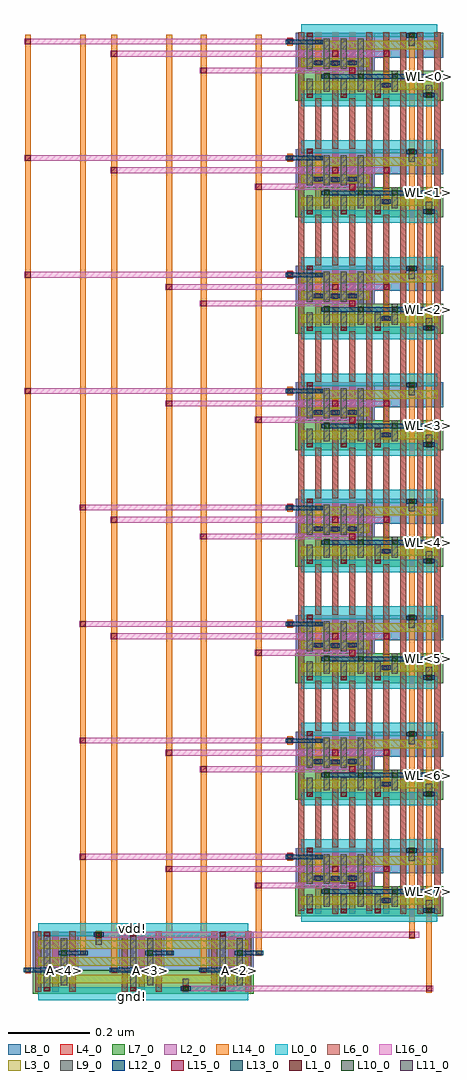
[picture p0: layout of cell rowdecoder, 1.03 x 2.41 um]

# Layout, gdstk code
from math import pi, radians
import gdstk
lib = gdstk.Library(unit=1e-6, precision=5e-10)
def R(c, l, rs):  # rectangles x0, y0, x1, y1
    for r in rs: c.add(gdstk.rectangle(r[:2], r[2:], *l))
def A(c, l, x, y, w, h, nx, ny, dx, dy):  # array of equal rectangles
    R(c, l, [(x+i*dx, y+j*dy, x+i*dx+w, y+j*dy+h) for i in range(nx) for j in range(ny)])
L0_0 = (0, 0)
L1_0 = (1, 0)
L2_0 = (2, 0)
L3_0 = (3, 0)
L4_0 = (4, 0)
L6_0 = (6, 0)
L7_0 = (7, 0)
L8_0 = (8, 0)
L9_0 = (9, 0)
L10_0 = (10, 0)
L11_0 = (11, 0)
L12_0 = (12, 0)
L13_0 = (13, 0)
L14_0 = (14, 0)
L15_0 = (15, 0)
L16_0 = (16, 0)

nmos = lib.new_cell('nmos')
R(nmos, L3_0, [(-0.042,-0.0105,0.042,0.0105)])
A(nmos, L4_0, -0.0495, -0.032, 0.015, 0.064, 3, 1, 0.042, 0)
R(nmos, L7_0, [(-0.0555,-0.021,0.0555,0.0205)])
R(nmos, L9_0, [(-0.0285,-0.0155,-0.0135,0.0155), (0.0135,-0.0155,0.0285,0.0155)])

pmos = lib.new_cell('pmos')
R(pmos, L2_0, [(-0.042,-0.0205,0.042,0.0205)])
R(pmos, L3_0, [(-0.042,-0.0105,0.042,0.0105)])
A(pmos, L4_0, -0.0495, -0.032, 0.015, 0.064, 3, 1, 0.042, 0)
R(pmos, L8_0, [(-0.0555,-0.0205,0.0555,0.0205)])
R(pmos, L9_0, [(-0.0285,-0.0155,-0.0135,0.0155), (0.0135,-0.0155,0.0285,0.0155)])

bpr_m0a = lib.new_cell('BPR_M0A')
R(bpr_m0a, L0_0, [(-0.021,-0.0055,0.021,0.026)])
R(bpr_m0a, L1_0, [(-0.0075,-0.0055,0.0075,0.005)])
R(bpr_m0a, L9_0, [(-0.0075,-0.0165,0.0075,0.005)])

m0a_m0b = lib.new_cell('M0A_M0B')
R(m0a_m0b, L9_0, [(-0.0075,-0.0055,0.0075,0.0055)])
R(m0a_m0b, L10_0, [(-0.0065,-0.0065,0.0065,0.0065)])
R(m0a_m0b, L12_0, [(-0.0125,-0.0055,0.0125,0.0055)])

gate_m0b = lib.new_cell('GATE_M0B')
R(gate_m0b, L4_0, [(-0.0075,-0.0115,0.0075,0.0115)])
R(gate_m0b, L11_0, [(-0.0075,-0.0065,0.0075,0.0065)])
R(gate_m0b, L12_0, [(-0.011,-0.0055,0.011,0.0055)])

inv_2 = lib.new_cell('inv_2')
R(inv_2, L0_0, [(-0.042,-0.052,0.0415,-0.0205), (0.012,-0.0415,0.031,-0.0285), (-0.042,0.1055,0.0415,0.137), (0.0105,0.114,0.0315,0.127)])
R(inv_2, L2_0, [(-0.0555,0.021,0.0555,0.116)])
R(inv_2, L6_0, [(-0.0495,-0.032,-0.0345,0.117), (0.0345,-0.032,0.0495,0.117)])
R(inv_2, L7_0, [(-0.0555,-0.0365,0.0555,0.021)])
R(inv_2, L8_0, [(-0.0555,0.021,0.0555,0.116)])
R(inv_2, L9_0, [(0.0135,0.0155,0.0285,0.027), (-0.0285,0.058,-0.0135,0.0695), (0.0135,0.058,0.0285,0.0695)])
R(inv_2, L12_0, [(-0.0075,0.016,0.0075,0.027), (0.0135,0.0585,0.0285,0.0695)])
inv_2.add(gdstk.Reference(nmos, (0,0)))
inv_2.add(gdstk.Reference(pmos, (0,0.085)))
inv_2.add(gdstk.Reference(pmos, (0,0.0425)))
inv_2.add(gdstk.Reference(bpr_m0a, (-0.021,-0.026), x_reflection=True))
inv_2.add(gdstk.Reference(bpr_m0a, (-0.021,0.111)))
inv_2.add(gdstk.Reference(m0a_m0b, (0.021,0.064)))
inv_2.add(gdstk.Reference(gate_m0b, (0,0.0215)))
inv_2.add(gdstk.Label('gnd!', (0.0215,-0.035), layer=0, texttype=0))
inv_2.add(gdstk.Label('vdd!', (0.021,0.1205), layer=0, texttype=0))
inv_2.add(gdstk.Label('Z', (0.021,0.064), layer=12, texttype=0))
inv_2.add(gdstk.Label('A', (0,0.0215), layer=12, texttype=0))

m0b_m1 = lib.new_cell('M0B_M1')
R(m0b_m1, L12_0, [(-0.011,-0.005,0.011,0.005)])
R(m0b_m1, L13_0, [(-0.007,-0.005,0.007,0.005)])
R(m0b_m1, L14_0, [(-0.007,-0.0075,0.007,0.0075)])

m1_m2 = lib.new_cell('M1_M2')
R(m1_m2, L14_0, [(-0.007,-0.01,0.007,0.01)])
R(m1_m2, L15_0, [(-0.007,-0.007,0.007,0.007)])
R(m1_m2, L16_0, [(-0.01,-0.007,0.01,0.007)])

nor_5 = lib.new_cell('nor_5')
R(nor_5, L0_0, [(-0.089,-0.0545,0.163,-0.023), (0.0065,-0.0505,0.032,-0.0375), (-0.089,0.117,0.163,0.1485), (0.004,0.126,0.031,0.1415)])
R(nor_5, L2_0, [(-0.1025,0.033,0.0925,0.127)])
R(nor_5, L6_0, [(-0.0125,-0.0345,0.0025,0.0155), (0.1555,-0.0345,0.1705,0.0295), (-0.0965,-0.028,-0.0815,0.1285), (0.0715,-0.028,0.0865,0.1285)])
R(nor_5, L7_0, [(-0.1035,-0.041,0.1775,0.033)])
R(nor_5, L8_0, [(-0.1025,0.033,0.0925,0.127)])
R(nor_5, L9_0, [(0.0505,0.0065,0.0655,0.016), (-0.0335,0.008,-0.0185,0.028), (0.1345,0.0085,0.1495,0.033), (0.0505,0.0155,0.0655,0.048), (0.0085,0.066,0.0235,0.084), (0.0505,0.0665,0.0655,0.084), (-0.0755,0.067,-0.0605,0.0845), (-0.0335,0.067,-0.0185,0.084)])
R(nor_5, L12_0, [(-0.0385,0.014,0.0505,0.025), (0.0505,0.014,0.0655,0.025), (0.0665,0.014,0.1545,0.025), (-0.0125,0.047,0.0025,0.058), (-0.0545,0.0475,-0.0395,0.0585), (0.0295,0.0475,0.0445,0.0585)])
R(nor_5, L14_0, [(0.114,-0.0035,0.128,0.085), (-0.012,0.0415,0.002,0.085)])
R(nor_5, L16_0, [(-0.015,0.068,0.131,0.082)])
nor_5.add(gdstk.Reference(pmos, (0.037,0.0965)))
nor_5.add(gdstk.Reference(pmos, (0.037,0.054)))
nor_5.add(gdstk.Reference(pmos, (-0.005,0.054)))
nor_5.add(gdstk.Reference(pmos, (-0.005,0.0965)))
nor_5.add(gdstk.Reference(pmos, (-0.047,0.0965)))
nor_5.add(gdstk.Reference(pmos, (-0.047,0.054)))
nor_5.add(gdstk.Reference(m0a_m0b, (0.058,0.0195)))
nor_5.add(gdstk.Reference(m0a_m0b, (0.142,0.0195)))
nor_5.add(gdstk.Reference(m0a_m0b, (-0.026,0.0195)))
nor_5.add(gdstk.Reference(nmos, (0.121,-0.0025)))
nor_5.add(gdstk.Reference(nmos, (0.037,-0.0025)))
nor_5.add(gdstk.Reference(nmos, (-0.047,-0.0025)))
nor_5.add(gdstk.Reference(m0b_m1, (-0.005,0.052)))
nor_5.add(gdstk.Reference(m0b_m1, (0.121,-0.0025)))
nor_5.add(gdstk.Reference(m1_m2, (0.121,0.075)))
nor_5.add(gdstk.Reference(m1_m2, (-0.005,0.075)))
nor_5.add(gdstk.Reference(gate_m0b, (0.037,0.053)))
nor_5.add(gdstk.Reference(gate_m0b, (0.121,-0.0025)))
nor_5.add(gdstk.Reference(gate_m0b, (-0.047,0.053)))
nor_5.add(gdstk.Reference(gate_m0b, (-0.005,0.0525)))
nor_5.add(gdstk.Reference(bpr_m0a, (-0.068,0.1225)))
nor_5.add(gdstk.Reference(bpr_m0a, (0.1,-0.0285), rotation=pi))
nor_5.add(gdstk.Reference(bpr_m0a, (-0.068,-0.0285), rotation=pi))
nor_5.add(gdstk.Reference(bpr_m0a, (0.016,-0.0285), rotation=pi))
nor_5.add(gdstk.Label('B', (-0.005,0.0525), layer=12, texttype=0))
nor_5.add(gdstk.Label('Z', (0.058,0.0195), layer=12, texttype=0))
nor_5.add(gdstk.Label('A', (-0.047,0.053), layer=12, texttype=0))
nor_5.add(gdstk.Label('C', (0.037,0.053), layer=12, texttype=0))
nor_5.add(gdstk.Label('vdd!', (0.0175,0.1335), layer=0, texttype=0))
nor_5.add(gdstk.Label('gnd!', (0.019,-0.044), layer=0, texttype=0))

rowdecoder = lib.new_cell('rowdecoder')
R(rowdecoder, L0_0, [(0.1565,0.0335,0.2855,0.065), (0.369,0.0335,0.506,0.065), (0.291,0.036,0.321,0.048), (0.1565,0.191,0.2855,0.2225), (0.369,0.191,0.506,0.2225), (0.2875,0.2035,0.323,0.218), (0.9725,0.2265,1.0565,0.258), (0.9725,0.398,1.0565,0.4295), (0.9725,0.5135,1.0565,0.545), (0.9725,0.685,1.0565,0.7165), (0.9725,0.8005,1.0565,0.832), (0.9725,0.972,1.0565,1.0035), (0.9725,1.0875,1.0565,1.119), (0.9725,1.259,1.0565,1.2905), (0.9725,1.3745,1.0565,1.406), (0.9725,1.546,1.0565,1.5775), (0.9725,1.6615,1.0565,1.693), (0.9725,1.833,1.0565,1.8645), (0.9725,1.949,1.0565,1.9805), (0.9725,2.1205,1.0565,2.152), (0.9725,2.236,1.0565,2.2675), (0.9725,2.4075,1.0565,2.439)])
A(rowdecoder, L3_0, 0.157, 0.075, 0.1285, 0.021, 1, 3, 0, 0.0425)
A(rowdecoder, L3_0, 0.3695, 0.075, 0.1365, 0.021, 1, 3, 0, 0.0425)
A(rowdecoder, L3_0, 0.9725, 0.268, 0.084, 0.021, 1, 6, 0, 0.287)
A(rowdecoder, L3_0, 0.8885, 0.367, 0.0845, 0.021, 1, 6, 0, 0.287)
A(rowdecoder, L3_0, 0.973, 0.367, 0.084, 0.021, 1, 6, 0, 0.287)
R(rowdecoder, L3_0, [(0.9725,1.9905,1.0565,2.0115), (0.8885,2.0895,0.973,2.1105), (0.973,2.0895,1.057,2.1105), (0.9725,2.2775,1.0565,2.2985), (0.8885,2.3765,0.973,2.3975), (0.973,2.3765,1.057,2.3975)])
A(rowdecoder, L4_0, 1.007, 0.2465, 0.015, 0.45, 1, 3, 0, 0.574)
A(rowdecoder, L4_0, 1.049, 0.2465, 0.015, 0.45, 1, 3, 0, 0.574)
A(rowdecoder, L4_0, 0.923, 0.3105, 0.015, 0.099, 1, 6, 0, 0.287)
A(rowdecoder, L4_0, 0.965, 0.3105, 0.015, 0.223, 1, 3, 0, 0.574)
A(rowdecoder, L4_0, 0.713, 0.4095, 0.015, 0.124, 6, 3, 0.042, 0.574)
A(rowdecoder, L4_0, 0.965, 0.5975, 0.015, 0.099, 1, 3, 0, 0.574)
A(rowdecoder, L4_0, 0.713, 0.6965, 0.015, 0.124, 9, 2, 0.042, 0.574)
A(rowdecoder, L4_0, 0.713, 1.8445, 0.015, 0.1245, 9, 1, 0.042, 0)
A(rowdecoder, L4_0, 0.713, 2.132, 0.015, 0.124, 6, 1, 0.042, 0)
R(rowdecoder, L4_0, [(1.007,1.969,1.022,2.419), (1.049,1.969,1.064,2.419), (0.923,2.033,0.938,2.132), (0.965,2.033,0.98,2.256), (0.923,2.32,0.938,2.419), (0.965,2.32,0.98,2.419)])
A(rowdecoder, L6_0, 1.007, 0.2465, 0.015, 0.45, 1, 3, 0, 0.574)
A(rowdecoder, L6_0, 1.049, 0.2465, 0.015, 0.45, 1, 3, 0, 0.574)
A(rowdecoder, L6_0, 0.923, 0.3105, 0.015, 0.099, 1, 6, 0, 0.287)
A(rowdecoder, L6_0, 0.965, 0.3105, 0.015, 0.223, 1, 3, 0, 0.574)
A(rowdecoder, L6_0, 0.713, 0.4095, 0.015, 0.1305, 1, 5, 0, 0.287)
A(rowdecoder, L6_0, 0.755, 0.4095, 0.015, 0.124, 3, 5, 0.042, 0.287)
A(rowdecoder, L6_0, 0.881, 0.4095, 0.015, 0.1305, 1, 5, 0, 0.287)
A(rowdecoder, L6_0, 0.923, 0.4095, 0.015, 0.124, 1, 3, 0, 0.574)
A(rowdecoder, L6_0, 0.965, 0.5975, 0.015, 0.099, 1, 3, 0, 0.574)
A(rowdecoder, L6_0, 0.923, 0.6965, 0.015, 0.124, 4, 2, 0.042, 0.574)
A(rowdecoder, L6_0, 0.755, 1.8445, 0.015, 0.1245, 3, 1, 0.042, 0)
A(rowdecoder, L6_0, 0.923, 1.8445, 0.015, 0.1245, 4, 1, 0.042, 0)
A(rowdecoder, L6_0, 0.755, 2.132, 0.015, 0.124, 3, 1, 0.042, 0)
R(rowdecoder, L6_0, [(0.713,1.8445,0.728,1.9755), (0.881,1.8445,0.896,1.9755), (1.007,1.969,1.022,2.419), (1.049,1.969,1.064,2.419), (0.923,2.033,0.938,2.132), (0.965,2.033,0.98,2.256), (0.713,2.132,0.728,2.2625), (0.881,2.132,0.896,2.2625), (0.923,2.132,0.938,2.256), (0.923,2.32,0.938,2.419), (0.965,2.32,0.98,2.419)])
A(rowdecoder, L7_0, 0.987, 0.24, 0.084, 0.074, 1, 6, 0, 0.287)
R(rowdecoder, L7_0, [(0.1705,0.049,0.272,0.1065), (0.383,0.049,0.4925,0.1065), (0.987,1.9625,1.071,2.0365), (0.987,2.2495,1.071,2.3235)])
A(rowdecoder, L8_0, 0.902, 0.3465, 0.169, 0.0615, 1, 6, 0, 0.287)
R(rowdecoder, L8_0, [(0.1705,0.1065,0.272,0.2015), (0.383,0.1065,0.4925,0.2015), (0.902,2.069,1.071,2.1305), (0.902,2.356,1.071,2.4175)])
A(rowdecoder, L9_0, 1.028, 0.268, 0.015, 0.011, 1, 6, 0, 0.287)
A(rowdecoder, L9_0, 0.986, 0.3765, 0.015, 0.011, 1, 6, 0, 0.287)
R(rowdecoder, L9_0, [(0.4285,0.075,0.4435,0.086), (0.214,0.17,0.229,0.181), (1.028,1.9905,1.043,2.0015), (0.986,2.099,1.001,2.11), (1.028,2.2775,1.043,2.2885), (0.986,2.386,1.001,2.397)])
A(rowdecoder, L12_0, 0.959, 0.295, 0.098, 0.011, 1, 6, 0, 0.287)
A(rowdecoder, L12_0, 1.0285, 1.156, 0.014, 0.011, 1, 3, 0, 0.287)
R(rowdecoder, L12_0, [(0.0365,0.1015,0.126,0.1125), (0.1075,0.1015,0.1465,0.1125), (0.1285,0.1015,0.1435,0.1125), (0.249,0.1015,0.3385,0.1125), (0.32,0.1015,0.359,0.1125), (0.341,0.1015,0.356,0.1125), (0.4695,0.1015,0.559,0.1125), (0.5405,0.1015,0.5795,0.1125), (0.5615,0.1015,0.5765,0.1125), (0.1235,0.144,0.194,0.155), (0.336,0.144,0.4065,0.155), (0.5565,0.144,0.627,0.155), (1.0285,0.295,1.0425,0.306), (0.682,0.3805,0.7735,0.3915), (1.0285,0.582,1.0425,0.593), (0.682,0.667,0.7735,0.678), (1.0285,0.869,1.0425,0.8795), (0.682,0.9545,0.7735,0.9655), (0.682,1.241,0.7735,1.252), (0.682,1.5285,0.7735,1.5395), (0.682,1.815,0.7735,1.826), (0.959,2.0175,1.057,2.0285), (1.0285,2.0175,1.0425,2.0285), (0.682,2.103,0.7735,2.114), (0.959,2.3045,1.057,2.3155), (1.0295,2.3045,1.0425,2.3155), (0.682,2.3895,0.7735,2.4005)])
R(rowdecoder, L14_0, [(1.0285,0.0515,1.0425,0.262), (0.0405,0.0995,0.0545,2.412), (0.253,0.0995,0.267,2.412), (0.4735,0.0995,0.4875,2.412), (0.176,0.142,0.19,2.412), (0.3885,0.142,0.4025,2.412), (0.609,0.142,0.623,2.412), (0.9865,0.1845,1.0005,0.409), (1.0285,0.247,1.0425,2.2715), (0.8395,0.3055,0.8535,0.3415), (0.7555,0.326,0.7695,0.394), (0.9865,0.394,1.0005,2.4185), (0.8395,0.592,0.8535,0.628), (0.7555,0.6125,0.7695,0.6805), (0.8395,0.8795,0.8535,0.9155), (0.7555,0.9,0.7695,0.968), (0.8395,1.166,0.8535,1.202), (0.7555,1.1865,0.7695,1.2545), (0.8395,1.4535,0.8535,1.4895), (0.7555,1.474,0.7695,1.542), (0.8395,1.74,0.8535,1.776), (0.7555,1.7605,0.7695,1.8285), (0.8395,2.028,0.8535,2.064), (0.7555,2.0485,0.7695,2.1165), (0.8395,2.3145,0.8535,2.3505), (0.7555,2.335,0.7695,2.403)])
A(rowdecoder, L16_0, 0.606, 0.3085, 0.097, 0.014, 1, 3, 0, 0.574)
A(rowdecoder, L16_0, 0.683, 0.349, 0.129, 0.014, 1, 6, 0, 0.287)
A(rowdecoder, L16_0, 0.4705, 0.595, 0.2325, 0.014, 1, 3, 0, 0.574)
R(rowdecoder, L16_0, [(0.426,0.0545,1.0455,0.0685), (0.2115,0.1875,1.011,0.2015), (0.683,0.3085,0.8565,0.3225), (0.3855,0.349,0.703,0.363), (0.173,0.3795,0.703,0.3935), (0.683,0.595,0.8565,0.609), (0.3855,0.636,0.703,0.65), (0.173,0.666,0.703,0.68), (0.683,0.8825,0.8565,0.8965), (0.25,0.923,0.703,0.937), (0.173,0.9535,0.703,0.9675), (0.683,1.169,0.8565,1.183), (0.25,1.21,0.703,1.224), (0.173,1.24,0.703,1.254), (0.683,1.4565,0.8565,1.4705), (0.3855,1.497,0.703,1.511), (0.0375,1.5275,0.703,1.5415), (0.683,1.743,0.8565,1.757), (0.3855,1.784,0.703,1.798), (0.0375,1.814,0.703,1.828), (0.606,2.031,0.703,2.045), (0.683,2.031,0.8565,2.045), (0.25,2.0715,0.703,2.0855), (0.683,2.0715,0.812,2.0855), (0.0375,2.102,0.703,2.116), (0.4705,2.3175,0.703,2.3315), (0.683,2.3175,0.8565,2.3315), (0.25,2.3585,0.703,2.3725), (0.683,2.3585,0.812,2.3725), (0.0375,2.3885,0.703,2.4025)])
rowdecoder.add(gdstk.Reference(inv_2, (0.548,0.0855)))
rowdecoder.add(gdstk.Reference(inv_2, (0.3275,0.0855)))
rowdecoder.add(gdstk.Reference(inv_2, (0.115,0.0855)))
rowdecoder.add(gdstk.Reference(nor_5, (0.8095,2.2905)))
rowdecoder.add(gdstk.Reference(nor_5, (0.8095,2.0035)))
rowdecoder.add(gdstk.Reference(nor_5, (0.8095,1.716)))
rowdecoder.add(gdstk.Reference(nor_5, (0.8095,1.429)))
rowdecoder.add(gdstk.Reference(nor_5, (0.8095,1.142)))
rowdecoder.add(gdstk.Reference(nor_5, (0.8095,0.855)))
rowdecoder.add(gdstk.Reference(nor_5, (0.8095,0.568)))
rowdecoder.add(gdstk.Reference(nor_5, (0.8095,0.281)))
rowdecoder.add(gdstk.Reference(m0b_m1, (0.8465,2.0565)))
rowdecoder.add(gdstk.Reference(m0b_m1, (0.8465,2.343)))
rowdecoder.add(gdstk.Reference(m0b_m1, (0.693,2.3955)))
rowdecoder.add(gdstk.Reference(m0b_m1, (0.7625,2.3955)))
rowdecoder.add(gdstk.Reference(m0b_m1, (0.7625,2.3435)))
rowdecoder.add(gdstk.Reference(m0b_m1, (0.693,2.109)))
rowdecoder.add(gdstk.Reference(m0b_m1, (0.7625,2.109)))
rowdecoder.add(gdstk.Reference(m0b_m1, (0.7625,2.056)))
rowdecoder.add(gdstk.Reference(m0b_m1, (0.9935,2.124)))
rowdecoder.add(gdstk.Reference(m0b_m1, (0.9935,2.411)))
rowdecoder.add(gdstk.Reference(m0b_m1, (1.0355,1.977)))
rowdecoder.add(gdstk.Reference(m0b_m1, (1.0355,2.264)))
rowdecoder.add(gdstk.Reference(m0b_m1, (0.9935,1.5495)))
rowdecoder.add(gdstk.Reference(m0b_m1, (0.9935,1.8365)))
rowdecoder.add(gdstk.Reference(m0b_m1, (0.8465,1.482)))
rowdecoder.add(gdstk.Reference(m0b_m1, (0.8465,1.7685)))
rowdecoder.add(gdstk.Reference(m0b_m1, (0.693,1.821)))
rowdecoder.add(gdstk.Reference(m0b_m1, (0.7625,1.821)))
rowdecoder.add(gdstk.Reference(m0b_m1, (0.7625,1.769)))
rowdecoder.add(gdstk.Reference(m0b_m1, (1.0355,1.4025)))
rowdecoder.add(gdstk.Reference(m0b_m1, (0.693,1.5345)))
rowdecoder.add(gdstk.Reference(m0b_m1, (0.7625,1.5345)))
rowdecoder.add(gdstk.Reference(m0b_m1, (0.7625,1.4815)))
rowdecoder.add(gdstk.Reference(m0b_m1, (1.0355,1.6895)))
rowdecoder.add(gdstk.Reference(m0b_m1, (0.9935,0.9755)))
rowdecoder.add(gdstk.Reference(m0b_m1, (0.9935,1.2625)))
rowdecoder.add(gdstk.Reference(m0b_m1, (0.8465,0.908)))
rowdecoder.add(gdstk.Reference(m0b_m1, (0.8465,1.1945)))
rowdecoder.add(gdstk.Reference(m0b_m1, (0.693,1.247)))
rowdecoder.add(gdstk.Reference(m0b_m1, (0.7625,1.247)))
rowdecoder.add(gdstk.Reference(m0b_m1, (0.7625,1.195)))
rowdecoder.add(gdstk.Reference(m0b_m1, (1.0355,0.8285)))
rowdecoder.add(gdstk.Reference(m0b_m1, (0.693,0.9605)))
rowdecoder.add(gdstk.Reference(m0b_m1, (0.7625,0.9605)))
rowdecoder.add(gdstk.Reference(m0b_m1, (0.7625,0.9075)))
rowdecoder.add(gdstk.Reference(m0b_m1, (1.0355,1.1155)))
rowdecoder.add(gdstk.Reference(m0b_m1, (0.9935,0.4015)))
rowdecoder.add(gdstk.Reference(m0b_m1, (0.9935,0.6885)))
rowdecoder.add(gdstk.Reference(m0b_m1, (0.2215,0.1945), rotation=pi))
rowdecoder.add(gdstk.Reference(m0b_m1, (0.8465,0.334)))
rowdecoder.add(gdstk.Reference(m0b_m1, (0.436,0.0615)))
rowdecoder.add(gdstk.Reference(m0b_m1, (0.8465,0.6205)))
rowdecoder.add(gdstk.Reference(m0b_m1, (0.693,0.673)))
rowdecoder.add(gdstk.Reference(m0b_m1, (0.7625,0.673)))
rowdecoder.add(gdstk.Reference(m0b_m1, (0.7625,0.621)))
rowdecoder.add(gdstk.Reference(m0b_m1, (1.0355,0.2545)))
rowdecoder.add(gdstk.Reference(m0b_m1, (0.4805,0.107)))
rowdecoder.add(gdstk.Reference(m0b_m1, (0.616,0.1495)))
rowdecoder.add(gdstk.Reference(m0b_m1, (0.183,0.1495)))
rowdecoder.add(gdstk.Reference(m0b_m1, (0.0475,0.107)))
rowdecoder.add(gdstk.Reference(m0b_m1, (0.693,0.3865)))
rowdecoder.add(gdstk.Reference(m0b_m1, (0.7625,0.3865)))
rowdecoder.add(gdstk.Reference(m0b_m1, (0.7625,0.3335)))
rowdecoder.add(gdstk.Reference(m0b_m1, (1.0355,0.5415)))
rowdecoder.add(gdstk.Reference(m0b_m1, (0.3955,0.1495)))
rowdecoder.add(gdstk.Reference(m0b_m1, (0.26,0.107)))
rowdecoder.add(gdstk.Reference(bpr_m0a, (0.9935,2.413)))
rowdecoder.add(gdstk.Reference(bpr_m0a, (0.9935,2.126)))
rowdecoder.add(gdstk.Reference(bpr_m0a, (1.0355,1.975), rotation=pi))
rowdecoder.add(gdstk.Reference(bpr_m0a, (1.0355,2.262), rotation=pi))
rowdecoder.add(gdstk.Reference(bpr_m0a, (0.9935,1.8385)))
rowdecoder.add(gdstk.Reference(bpr_m0a, (0.9935,1.5515)))
rowdecoder.add(gdstk.Reference(bpr_m0a, (1.0355,1.4005), rotation=pi))
rowdecoder.add(gdstk.Reference(bpr_m0a, (1.0355,1.6875), rotation=pi))
rowdecoder.add(gdstk.Reference(bpr_m0a, (0.9935,1.2645)))
rowdecoder.add(gdstk.Reference(bpr_m0a, (0.9935,0.9775)))
rowdecoder.add(gdstk.Reference(bpr_m0a, (1.0355,0.8265), rotation=pi))
rowdecoder.add(gdstk.Reference(bpr_m0a, (1.0355,1.1135), rotation=pi))
rowdecoder.add(gdstk.Reference(bpr_m0a, (0.2215,0.1965)))
rowdecoder.add(gdstk.Reference(bpr_m0a, (0.436,0.0595), rotation=pi))
rowdecoder.add(gdstk.Reference(bpr_m0a, (0.9935,0.6905)))
rowdecoder.add(gdstk.Reference(bpr_m0a, (0.9935,0.4035)))
rowdecoder.add(gdstk.Reference(bpr_m0a, (1.0355,0.2525), rotation=pi))
rowdecoder.add(gdstk.Reference(bpr_m0a, (1.0355,0.5395), rotation=pi))
rowdecoder.add(gdstk.Reference(m0a_m0b, (0.9935,2.124)))
rowdecoder.add(gdstk.Reference(m0a_m0b, (0.9935,2.411)))
rowdecoder.add(gdstk.Reference(m0a_m0b, (1.0355,1.977)))
rowdecoder.add(gdstk.Reference(m0a_m0b, (1.0355,2.264)))
rowdecoder.add(gdstk.Reference(m0a_m0b, (0.9935,1.5495)))
rowdecoder.add(gdstk.Reference(m0a_m0b, (0.9935,1.8365)))
rowdecoder.add(gdstk.Reference(m0a_m0b, (1.0355,1.4025)))
rowdecoder.add(gdstk.Reference(m0a_m0b, (1.0355,1.6895)))
rowdecoder.add(gdstk.Reference(m0a_m0b, (0.9935,0.9755)))
rowdecoder.add(gdstk.Reference(m0a_m0b, (0.9935,1.2625)))
rowdecoder.add(gdstk.Reference(m0a_m0b, (1.0355,0.8285)))
rowdecoder.add(gdstk.Reference(m0a_m0b, (1.0355,1.1155)))
rowdecoder.add(gdstk.Reference(m0a_m0b, (0.9935,0.4015)))
rowdecoder.add(gdstk.Reference(m0a_m0b, (0.9935,0.6885)))
rowdecoder.add(gdstk.Reference(m0a_m0b, (1.0355,0.2545)))
rowdecoder.add(gdstk.Reference(m0a_m0b, (1.0355,0.5415)))
rowdecoder.add(gdstk.Reference(m0a_m0b, (0.2215,0.1945), rotation=pi))
rowdecoder.add(gdstk.Reference(m0a_m0b, (0.436,0.0615)))
rowdecoder.add(gdstk.Reference(m1_m2, (0.183,0.3865)))
rowdecoder.add(gdstk.Reference(m1_m2, (0.3955,0.356)))
rowdecoder.add(gdstk.Reference(m1_m2, (0.616,0.3155)))
rowdecoder.add(gdstk.Reference(m1_m2, (0.183,0.673)))
rowdecoder.add(gdstk.Reference(m1_m2, (0.3955,0.643)))
rowdecoder.add(gdstk.Reference(m1_m2, (0.4805,0.602)))
rowdecoder.add(gdstk.Reference(m1_m2, (0.616,0.8895)))
rowdecoder.add(gdstk.Reference(m1_m2, (0.26,0.93)))
rowdecoder.add(gdstk.Reference(m1_m2, (0.183,0.9605)))
rowdecoder.add(gdstk.Reference(m1_m2, (0.4805,1.176)))
rowdecoder.add(gdstk.Reference(m1_m2, (0.26,1.217)))
rowdecoder.add(gdstk.Reference(m1_m2, (0.183,1.247)))
rowdecoder.add(gdstk.Reference(m1_m2, (0.0475,1.5345)))
rowdecoder.add(gdstk.Reference(m1_m2, (0.3955,1.504)))
rowdecoder.add(gdstk.Reference(m1_m2, (0.616,1.4635)))
rowdecoder.add(gdstk.Reference(m1_m2, (0.0475,1.821)))
rowdecoder.add(gdstk.Reference(m1_m2, (0.3955,1.791)))
rowdecoder.add(gdstk.Reference(m1_m2, (0.4805,1.75)))
rowdecoder.add(gdstk.Reference(m1_m2, (0.616,2.038)))
rowdecoder.add(gdstk.Reference(m1_m2, (0.26,2.0785)))
rowdecoder.add(gdstk.Reference(m1_m2, (0.0475,2.109)))
rowdecoder.add(gdstk.Reference(m1_m2, (0.4805,2.3245)))
rowdecoder.add(gdstk.Reference(m1_m2, (0.26,2.3655)))
rowdecoder.add(gdstk.Reference(m1_m2, (0.0475,2.3955)))
rowdecoder.add(gdstk.Reference(m1_m2, (1.0355,0.0615)))
rowdecoder.add(gdstk.Reference(m1_m2, (0.9935,0.1945)))
rowdecoder.add(gdstk.Reference(m1_m2, (0.2215,0.1945)))
rowdecoder.add(gdstk.Reference(m1_m2, (0.436,0.0615)))
rowdecoder.add(gdstk.Reference(m1_m2, (0.693,2.109)))
rowdecoder.add(gdstk.Reference(m1_m2, (0.8465,2.038)))
rowdecoder.add(gdstk.Reference(m1_m2, (0.8465,2.3245)))
rowdecoder.add(gdstk.Reference(m1_m2, (0.693,2.3955)))
rowdecoder.add(gdstk.Reference(m1_m2, (0.693,1.5345)))
rowdecoder.add(gdstk.Reference(m1_m2, (0.8465,1.4635)))
rowdecoder.add(gdstk.Reference(m1_m2, (0.8465,1.75)))
rowdecoder.add(gdstk.Reference(m1_m2, (0.693,1.821)))
rowdecoder.add(gdstk.Reference(m1_m2, (0.693,0.9605)))
rowdecoder.add(gdstk.Reference(m1_m2, (0.8465,0.8895)))
rowdecoder.add(gdstk.Reference(m1_m2, (0.8465,1.176)))
rowdecoder.add(gdstk.Reference(m1_m2, (0.693,1.247)))
rowdecoder.add(gdstk.Reference(m1_m2, (0.693,0.673)))
rowdecoder.add(gdstk.Reference(m1_m2, (0.8465,0.602)))
rowdecoder.add(gdstk.Reference(m1_m2, (0.8465,0.3155)))
rowdecoder.add(gdstk.Reference(m1_m2, (0.693,0.3865)))
rowdecoder.add(gdstk.Label('gnd!', (0.306,0.042), layer=0, texttype=0))
rowdecoder.add(gdstk.Label('vdd!', (0.305,0.2105), layer=0, texttype=0))
rowdecoder.add(gdstk.Label('WL<0>', (1.036,2.31), layer=12, texttype=0))
rowdecoder.add(gdstk.Label('WL<1>', (1.0355,2.023), layer=12, texttype=0))
rowdecoder.add(gdstk.Label('WL<2>', (1.0355,1.7355), layer=12, texttype=0))
rowdecoder.add(gdstk.Label('WL<3>', (1.0355,1.4485), layer=12, texttype=0))
rowdecoder.add(gdstk.Label('WL<4>', (1.0355,1.1615), layer=12, texttype=0))
rowdecoder.add(gdstk.Label('WL<5>', (1.0355,0.874), layer=12, texttype=0))
rowdecoder.add(gdstk.Label('WL<6>', (1.0355,0.5875), layer=12, texttype=0))
rowdecoder.add(gdstk.Label('WL<7>', (1.0355,0.3005), layer=12, texttype=0))
rowdecoder.add(gdstk.Label('A<2>', (0.569,0.107), layer=12, texttype=0))
rowdecoder.add(gdstk.Label('A<3>', (0.3485,0.107), layer=12, texttype=0))
rowdecoder.add(gdstk.Label('A<4>', (0.136,0.107), layer=12, texttype=0))

lib.write_gds('rowdecoder.gds')
